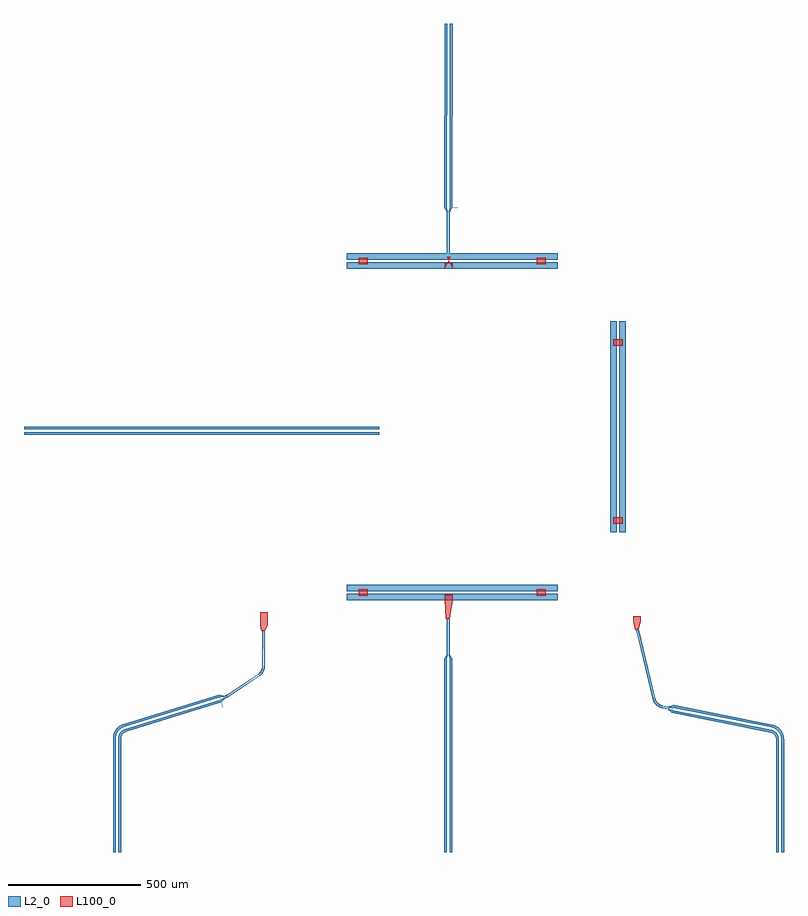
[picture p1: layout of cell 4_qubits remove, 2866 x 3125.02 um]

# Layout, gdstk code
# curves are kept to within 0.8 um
import gdstk
lib = gdstk.Library(unit=1e-6, precision=1e-09)
def R(c, l, rs):  # rectangles x0, y0, x1, y1
    for r in rs: c.add(gdstk.rectangle(r[:2], r[2:], *l))
def P(c, l, *ps):  # polygons
    for p in ps: c.add(gdstk.Polygon(p, *l))
L2_0 = (2, 0)
L100_0 = (100, 0)

c_4_qubits_remove = lib.new_cell('4_qubits remove')
R(c_4_qubits_remove, L2_0, [(2345,770,2355,1500), (2365,770,2375,1500), (2355,1515,2358,1650), (2362,1515,2365,1650), (1977,1720,2773,1745), (1977,1755,2773,1780), (2970,1977,2995,2773), (3005,1977,3030,2773), (760,2345,2100,2355), (760,2365,2100,2375), (1977,2970,2773,2995), (1977,3005,2773,3030)])
P(c_4_qubits_remove, L2_0, [(1106,1200.479),(1107.966,1213.636),(1113.693,1225.643),(1122.68,1235.45),(1134.142,1242.202),(1498.526,1354.778),(1495.578,1364.333),(1134.787,1253.035),(1119.606,1245.639),(1113.045,1240.284),(1106.126,1232.28),(1099.274,1219.173),(1096.041,1202.598),(1096,770),(1106,770)],
  [(1126,1200.479),(1127.488,1208.976),(1130.885,1215.325),(1135.95,1220.442),(1142.263,1223.903),(1504.422,1335.667),(1501.474,1345.222),(1140.683,1233.924),(1130.411,1228.783),(1122.357,1220.594),(1117.388,1210.238),(1116,1200.479),(1116,770),(1126,770)],
  [(1501.474,1345.222),(1498.526,1354.778),(1513.744,1356.333),(1512.565,1360.155),(1495.579,1364.333),(1510.317,1316.555),(1504.422,1335.667),(1516.102,1348.688),(1514.923,1352.511)],
  [(1524.528,1363.851),(1520.029,1361.58),(1512.86,1359.199),(1513.744,1356.333),(1521.184,1358.811),(1527.612,1362.251),(1644.116,1439.829),(1650.864,1445.561),(1656.102,1452.699),(1659.546,1460.855),(1661.009,1469.587),(1661.397,1605.005),(1658.397,1605.013),(1658.012,1469.734),(1656.665,1461.692),(1653.493,1454.18),(1649.754,1448.827),(1643.792,1443.263)],
  [(1528.371,1357.993),(1522.191,1354.902),(1514.923,1352.511),(1515.807,1349.644),(1523.308,1352.117),(1529.929,1355.43),(1647.996,1434.002),(1652.571,1437.49),(1656.663,1441.533),(1662.234,1449.322),(1664.738,1454.502),(1666.561,1459.958),(1668.009,1469.424),(1668.397,1604.987),(1665.397,1604.995),(1665.008,1469.479),(1663.533,1460.253),(1661.677,1454.956),(1659.132,1449.953),(1654.745,1443.895),(1647.868,1437.571)],
  [(3626,1197.208),(3622.79,1215.723),(3614.833,1230.43),(3602.825,1242.065),(3587.875,1249.555),(3208.942,1325.709),(3206.981,1315.903),(3581.654,1240.929),(3596.911,1234),(3607.512,1223.511),(3613.529,1211.915),(3616,1197.208),(3616,770),(3626,770)],
  [(3606,1197.208),(3604.094,1208.599),(3598.585,1218.75),(3590.071,1226.555),(3579.481,1231.165),(3205.019,1306.097),(3203.058,1296.291),(3575.903,1221.722),(3585.074,1217.87),(3591.208,1211.926),(3594.984,1204.264),(3596,1197.208),(3596,770),(3606,770)],
  [(3190.311,1309.039),(3203.058,1296.291),(3208.942,1325.709),(3192.272,1318.845),(3193.056,1322.767),(3190.898,1311.981),(3191.684,1315.903),(3206.981,1315.903),(3205.019,1306.097),(3190.898,1311.981),(3189.526,1305.117)],
  [(3192.272,1318.845),(3166.657,1324.008),(3158.932,1326.942),(3153.383,1330.547),(3148.611,1335.131),(3144.788,1340.531),(3142.626,1345.002),(3141.119,1349.734),(3077.86,1611.176),(3074.944,1610.47),(3138.203,1349.028),(3139.76,1344.092),(3142.851,1337.925),(3147.005,1332.419),(3152.086,1327.755),(3157.926,1324.086),(3166,1321.08),(3191.684,1315.903)],
  [(3190.899,1311.981),(3165.109,1317.179),(3159.865,1318.84),(3154.882,1321.172),(3148.793,1325.254),(3143.507,1330.333),(3140.166,1334.705),(3136.655,1341.14),(3134.315,1348.087),(3071.056,1609.53),(3068.14,1608.824),(3131.399,1347.382),(3133.79,1340.205),(3137.349,1333.53),(3141.976,1327.546),(3147.54,1322.421),(3155.57,1317.441),(3164.464,1314.249),(3190.311,1309.039)],
  [(2365,1515),(2362,1515),(2365,1500),(2375,1500)],
  [(2358,1515),(2355,1515),(2345,1500),(2355,1500)],
  [(2356,3895.007),(2346,3895.022),(2345,3200.022),(2355,3200.007)],
  [(2376,3894.978),(2366,3894.993),(2365,3199.993),(2375,3199.978)],
  [(2354.978,3185.007),(2359.978,3185),(2357.978,3185.003),(2355,3200.007),(2345,3200.021)],
  [(2361.978,3184.997),(2368.978,3184.987),(2364.978,3184.993),(2375,3199.978),(2395,3199.95),(2365,3199.993)],
  [(2358,3016),(2357.964,3174.966),(2357.964,3175.036),(2357.978,3185.003),(2354.978,3185.007),(2354.964,3175.041),(2354.964,3174.966),(2355,3015.999)],
  [(2365,3016.001),(2364.964,3174.968),(2364.964,3175.026),(2364.978,3184.993),(2361.978,3184.997),(2361.964,3175.03),(2361.964,3174.967),(2362,3016)])
R(c_4_qubits_remove, L100_0, [(2023,1737.5,2057,1761.5), (2693,1737.5,2727,1761.5), (2983,2010,3017,2034), (2983,2680,3017,2704), (2023,2987.5,2057,3011.5), (2693,2987.5,2727,3011.5)])
P(c_4_qubits_remove, L100_0, [(1679.397,1626.25),(1679.397,1676.25),(1650.397,1676.25),(1650.397,1626.25),(1654.397,1605.023),(1668.397,1604.987)],
  [(3077.86,1611.176),(3086.711,1640.539),(3086.711,1660.539),(3057.711,1660.539),(3057.711,1640.539),(3064.252,1607.883)],
  [(2376,1721.75),(2376,1741.75),(2347,1741.75),(2347,1721.75),(2351,1650),(2365,1650)],
  [(2376,2990.75),(2366.718,2990.75),(2361.837,3001.268),(2369,3016.002),(2355,3015.999),(2361.837,3001.268),(2356.723,2990.75),(2347,2990.75),(2347,2970.75),(2356.723,2990.75),(2366.718,2990.75),(2376,2970.75)])

lib.write_gds('4_qubits_remove.gds')
